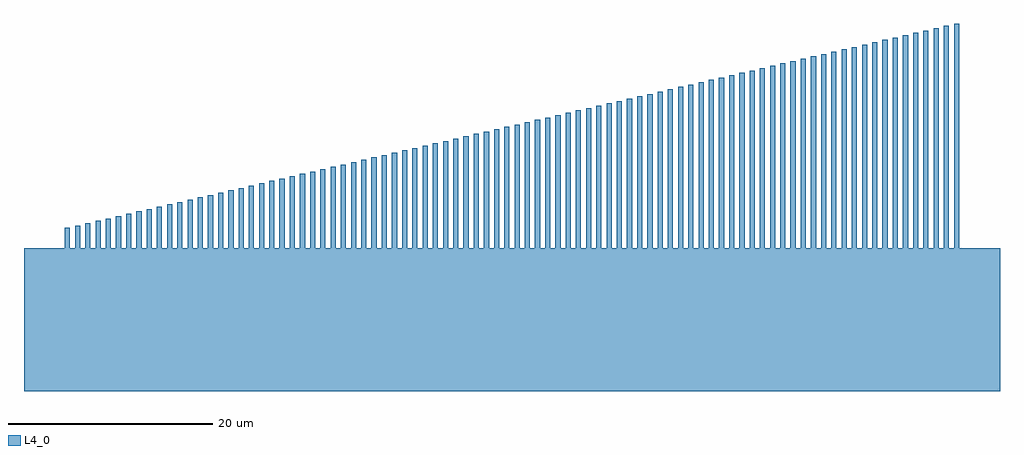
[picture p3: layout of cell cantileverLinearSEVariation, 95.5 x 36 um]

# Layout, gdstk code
import gdstk
lib = gdstk.Library(unit=1e-6, precision=1e-09)
def R(c, l, rs):  # rectangles x0, y0, x1, y1
    for r in rs: c.add(gdstk.rectangle(r[:2], r[2:], *l))
L4_0 = (4, 0)

cantileverlinearsevariat = lib.new_cell('cantileverLinearSEVariation')
R(cantileverlinearsevariat, L4_0, [(0,0,95.5,14), (4,14,4.5,16), (5,14,5.5,16.23), (6,14,6.5,16.46), (7,14,7.5,16.69), (8,14,8.5,16.92), (9,14,9.5,17.149), (10,14,10.5,17.379), (11,14,11.5,17.609), (12,14,12.5,17.839), (13,14,13.5,18.069), (14,14,14.5,18.299), (15,14,15.5,18.529), (16,14,16.5,18.759), (17,14,17.5,18.989), (18,14,18.5,19.218), (19,14,19.5,19.448), (20,14,20.5,19.678), (21,14,21.5,19.908), (22,14,22.5,20.138), (23,14,23.5,20.368), (24,14,24.5,20.598), (25,14,25.5,20.828), (26,14,26.5,21.057), (27,14,27.5,21.287), (28,14,28.5,21.517), (29,14,29.5,21.747), (30,14,30.5,21.977), (31,14,31.5,22.207), (32,14,32.5,22.437), (33,14,33.5,22.667), (34,14,34.5,22.897), (35,14,35.5,23.126), (36,14,36.5,23.356), (37,14,37.5,23.586), (38,14,38.5,23.816), (39,14,39.5,24.046), (40,14,40.5,24.276), (41,14,41.5,24.506), (42,14,42.5,24.736), (43,14,43.5,24.966), (44,14,44.5,25.195), (45,14,45.5,25.425), (46,14,46.5,25.655), (47,14,47.5,25.885), (48,14,48.5,26.115), (49,14,49.5,26.345), (50,14,50.5,26.575), (51,14,51.5,26.805), (52,14,52.5,27.034), (53,14,53.5,27.264), (54,14,54.5,27.494), (55,14,55.5,27.724), (56,14,56.5,27.954), (57,14,57.5,28.184), (58,14,58.5,28.414), (59,14,59.5,28.644), (60,14,60.5,28.874), (61,14,61.5,29.103), (62,14,62.5,29.333), (63,14,63.5,29.563), (64,14,64.5,29.793), (65,14,65.5,30.023), (66,14,66.5,30.253), (67,14,67.5,30.483), (68,14,68.5,30.713), (69,14,69.5,30.943), (70,14,70.5,31.172), (71,14,71.5,31.402), (72,14,72.5,31.632), (73,14,73.5,31.862), (74,14,74.5,32.092), (75,14,75.5,32.322), (76,14,76.5,32.552), (77,14,77.5,32.782), (78,14,78.5,33.011), (79,14,79.5,33.241), (80,14,80.5,33.471), (81,14,81.5,33.701), (82,14,82.5,33.931), (83,14,83.5,34.161), (84,14,84.5,34.391), (85,14,85.5,34.621), (86,14,86.5,34.851), (87,14,87.5,35.08), (88,14,88.5,35.31), (89,14,89.5,35.54), (90,14,90.5,35.77), (91,14,91.5,36)])

lib.write_gds('cantileverLinearSEVariation.gds')
